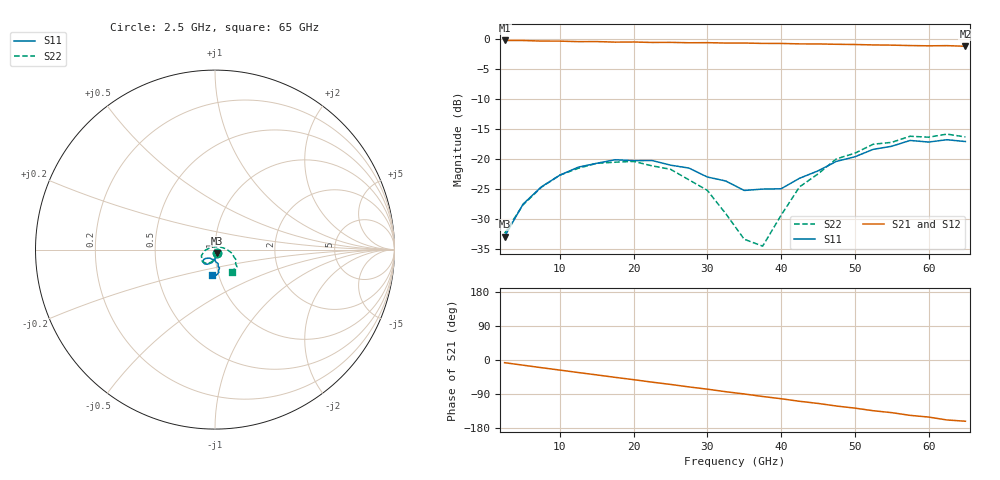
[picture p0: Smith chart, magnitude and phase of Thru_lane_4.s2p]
! File created by SignalIntegrity v1.5.1: Signal and Power Integrity Tools
! https://github.com/Nubis-Communications/SignalIntegrity
# MHz S MA R 50.0
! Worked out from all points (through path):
!   26 points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, 2.5 GHz to 65 GHz, reference 50 ohm
!   highest |S21| = -0.18 dB at 2.5 GHz (marker M1); lowest = -1.1 dB at 65 GHz (marker M2)
!   group delay of S21, straight-line fit = 6.94 ps
!   lowest |S11| = -32.9 dB at 2.5 GHz (marker M3), VSWR 1.05, Z = 51.1 - j2 ohm
!   |S11| at or under -10 dB: start of sweep to end of sweep
!   |S22| runs from -34.5 to -15.8 dB; largest |S21 - S12| = 0.0084
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2500  0.02264 -59.6  0.9797 -7.1  0.9807 -7.1  0.02408 -56.0
5000  0.0422 -78.8  0.9788 -13.7  0.9779 -13.7  0.04156 -83.8
7500  0.0589 -95.3  0.968 -20.3  0.9688 -20.3  0.0584 -94.9
10000  0.07361 -102.8  0.9674 -26.6  0.9666 -26.7  0.0737 -107.8
15000  0.09249 -118.1  0.9588 -39.3  0.9579 -39.4  0.09237 -125.4
20000  0.09731 -129.6  0.9512 -51.9  0.9503 -51.9  0.09586 -141.3
25000  0.08921 -136.6  0.9444 -64.4  0.9438 -64.5  0.08244 -156.8
27500  0.08435 -139.0  0.9373 -71.0  0.9379 -71.0  0.06732 -165.1
30000  0.07102 -136.4  0.939 -77.0  0.9387 -77.1  0.05496 -175.9
32500  0.0658 -132.5  0.9322 -83.7  0.9331 -83.6  0.03509 169.5
35000  0.05486 -120.9  0.9328 -89.6  0.9325 -89.7  0.02149 140.5
37500  0.05634 -109.3  0.9255 -96.3  0.9262 -96.3  0.0188 56.8
40000  0.05667 -92.4  0.9253 -102.2  0.9254 -102.2  0.03404 24.7
42500  0.0693 -85.9  0.917 -109.0  0.9187 -108.9  0.05876 5.0
45000  0.07986 -77.3  0.9167 -114.5  0.916 -114.6  0.07532 -4.3
47500  0.09592 -79.6  0.9104 -121.4  0.9104 -121.3  0.1007 -13.1
52500  0.1209 -81.1  0.8989 -133.9  0.8994 -133.6  0.1334 -26.3
55000  0.1282 -80.0  0.8956 -138.9  0.8967 -139.1  0.1382 -34.3
57500  0.1434 -87.1  0.8882 -146.1  0.8896 -145.8  0.1555 -37.9
60000  0.139 -88.5  0.8837 -150.6  0.8887 -150.7  0.1527 -46.1
62500  0.1454 -95.7  0.8867 -158.2  0.8849 -157.9  0.162 -45.7
65000  0.1405 -97.2  0.8763 -161.6  0.8796 -162.1  0.1534 -53.1
